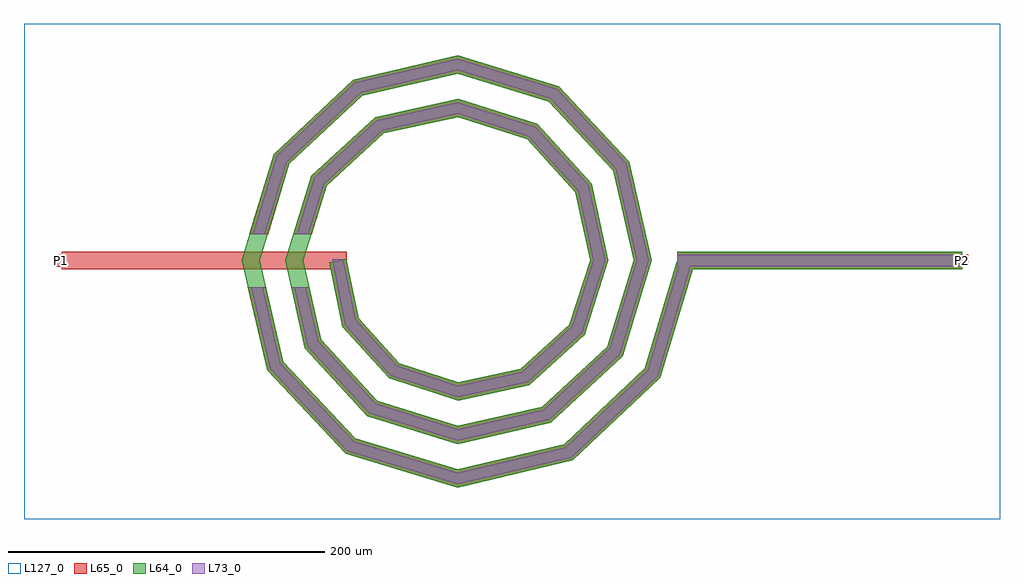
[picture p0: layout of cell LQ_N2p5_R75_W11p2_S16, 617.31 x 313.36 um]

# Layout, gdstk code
import gdstk
lib = gdstk.Library(unit=1e-6, precision=1e-09)
def R(c, l, rs):  # rectangles x0, y0, x1, y1
    for r in rs: c.add(gdstk.rectangle(r[:2], r[2:], *l))
def P(c, l, *ps):  # polygons
    for p in ps: c.add(gdstk.Polygon(p, *l))
L64_0 = (64, 0)
L65_0 = (65, 0)
L73_0 = (73, 0)
L127_0 = (127, 0)

lq_n2p5_r75_w11p2_s16 = lib.new_cell('LQ_N2p5_R75_W11p2_S16')
R(lq_n2p5_r75_w11p2_s16, L64_0, [(139.043,-5.6,319.043,5.6)])
P(lq_n2p5_r75_w11p2_s16, L64_0, [(-62.511,-36.457),(-37.061,-64.808),(0.299,-76.949),(39.873,-68.479),(70.752,-40.521),(83.826,0.277),(74.446,43.293),(43.978,76.697),(0.257,90.703),(-46.715,80.411),(-82.645,47.432),(-97.581,0.24),(-86.375,-50.14),(-50.884,-88.593),(0.225,-104.458),(53.566,-92.339),(94.542,-54.335),(111.336,0.212),(98.301,56.994),(57.784,100.492),(0.2,118.214),(-60.423,104.263),(-106.443,61.233),(-125.092,0.189),(-110.225,-63.853),(-64.68,-112.395),(0.18,-131.969),(67.284,-116.186),(118.347,-68.126),(139.279,1.61),(150.006,-1.61),(128.21,-74.224),(72.773,-126.4),(0.18,-143.56),(-70.792,-122.249),(-120.448,-69.326),(-136.681,0.189),(-116.287,67.361),(-65.878,114.496),(0.2,129.803),(63.931,110.325),(108.545,62.429),(122.924,0.212),(104.362,-60.503),(58.979,-102.594),(0.225,-116.046),(-57.075,-98.398),(-96.645,-55.527),(-109.167,0.24),(-92.433,53.65),(-52.073,90.696),(0.257,102.289),(50.226,86.467),(84.748,48.618),(95.41,0.277),(80.499,-46.804),(45.159,-78.801),(0.299,-88.531),(-43.386,-74.53),(-72.857,-41.698),(-81.343,-1.147),(-70.38,1.147)])
R(lq_n2p5_r75_w11p2_s16, L65_0, [(-250.262,-5.6,-70.262,5.6), (139.043,-5.6,319.043,5.6), (-254.262,-4,-246.262,4), (315.043,-4,323.043,4)])
P(lq_n2p5_r75_w11p2_s16, L65_0, [(-110.225,-63.853),(-64.68,-112.395),(0.18,-131.969),(67.284,-116.186),(118.347,-68.127),(139.279,1.61),(150.006,-1.61),(128.211,-74.224),(72.773,-126.401),(0.18,-143.56),(-70.792,-122.249),(-120.448,-69.326),(-132.714,-16.8),(-121.213,-16.8)],
  [(-86.375,-50.14),(-50.884,-88.593),(0.225,-104.458),(53.566,-92.339),(94.542,-54.335),(111.336,0.212),(98.301,56.994),(57.784,100.493),(0.2,118.214),(-60.423,104.263),(-106.443,61.233),(-119.933,16.8),(-131.638,16.8),(-116.288,67.361),(-65.878,114.496),(0.2,129.803),(63.931,110.325),(108.545,62.429),(122.924,0.212),(104.362,-60.503),(58.979,-102.595),(0.225,-116.046),(-57.075,-98.398),(-96.645,-55.527),(-105.341,-16.8),(-93.862,-16.8)],
  [(-37.062,-64.808),(0.3,-76.949),(39.873,-68.479),(70.752,-40.521),(83.826,0.277),(74.446,43.293),(43.978,76.698),(0.257,90.703),(-46.715,80.411),(-82.645,47.432),(-92.242,16.8),(-103.979,16.8),(-92.433,53.65),(-52.073,90.696),(0.257,102.289),(50.226,86.467),(84.748,48.618),(95.41,0.277),(80.5,-46.804),(45.159,-78.801),(0.3,-88.531),(-43.386,-74.53),(-72.857,-41.698),(-81.343,-1.147),(-70.38,1.147),(-62.511,-36.457)])
R(lq_n2p5_r75_w11p2_s16, L73_0, [(139.043,-3.6,319.043,3.6)])
P(lq_n2p5_r75_w11p2_s16, L73_0, [(-112.05,-64.831),(-65.771,-114.155),(0.116,-134.039),(68.264,-118.01),(120.108,-69.215),(141.195,1.035),(148.091,-1.035),(126.449,-73.135),(71.793,-124.576),(0.116,-141.49),(-69.701,-120.49),(-118.623,-68.349),(-130.66,-16.8),(-123.267,-16.8)],
  [(-88.209,-51.102),(-51.99,-90.344),(0.145,-106.528),(54.533,-94.17),(96.296,-55.436),(113.405,0.136),(100.131,57.965),(58.882,102.248),(0.129,120.283),(-61.397,106.091),(-108.201,62.327),(-122.024,16.8),(-129.548,16.8),(-114.53,66.267),(-64.904,112.669),(0.129,127.733),(62.834,108.569),(106.716,61.458),(120.855,0.136),(102.609,-59.401),(58.012,-100.763),(0.145,-113.977),(-55.97,-96.647),(-94.811,-54.565),(-103.291,-16.8),(-95.912,-16.8)],
  [(-38.191,-66.544),(0.193,-79.017),(40.817,-70.322),(72.493,-41.643),(85.894,0.178),(76.285,44.244),(45.093,78.442),(0.165,92.772),(-47.672,82.248),(-84.393,48.542),(-94.338,16.8),(-101.883,16.8),(-90.685,52.539),(-51.117,88.859),(0.165,100.22),(49.11,84.723),(82.908,47.667),(93.341,0.178),(78.759,-45.682),(44.215,-76.958),(0.193,-86.462),(-42.256,-72.794),(-71.009,-40.762),(-79.385,0.737),(-72.338,0.737),(-64.358,-37.393)])
R(lq_n2p5_r75_w11p2_s16, L127_0, [(-274.262,-163.56,343.043,149.803)])
lq_n2p5_r75_w11p2_s16.add(gdstk.Label('P2', (319.043,0), layer=65, texttype=0))
lq_n2p5_r75_w11p2_s16.add(gdstk.Label('P1', (-250.262,0), layer=65, texttype=0))
lq_n2p5_r75_w11p2_s16.add(gdstk.Label('P2', (323.043,0), layer=145, texttype=0))
lq_n2p5_r75_w11p2_s16.add(gdstk.Label('P1', (-254.262,0), layer=145, texttype=0))

lib.write_gds('LQ_N2p5_R75_W11p2_S16.gds')
